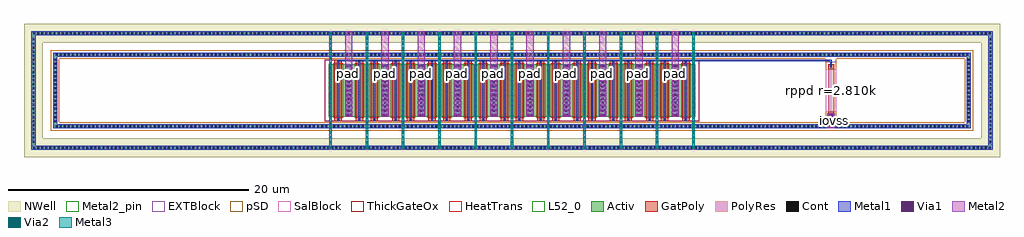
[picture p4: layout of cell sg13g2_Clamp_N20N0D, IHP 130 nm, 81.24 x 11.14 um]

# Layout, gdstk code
import gdstk
lib = gdstk.Library(unit=1e-6, precision=1e-09)
def R(c, l, rs):  # rectangles x0, y0, x1, y1
    for r in rs: c.add(gdstk.rectangle(r[:2], r[2:], *l))
def A(c, l, x, y, w, h, nx, ny, dx, dy):  # array of equal rectangles
    R(c, l, [(x+i*dx, y+j*dy, x+i*dx+w, y+j*dy+h) for i in range(nx) for j in range(ny)])
def P(c, l, *ps):  # polygons
    for p in ps: c.add(gdstk.Polygon(p, *l))
Activ = (1, 0)
GatPoly = (5, 0)
Cont = (6, 0)
Metal1 = (8, 0)
Metal2 = (10, 0)
Metal2_pin = (10, 2)
pSD = (14, 0)
Via1 = (19, 0)
SalBlock = (28, 0)
Via2 = (29, 0)
Metal3 = (30, 0)
NWell = (31, 0)
ThickGateOx = (44, 0)
HeatTrans = (51, 0)
L52_0 = (52, 0)
EXTBlock = (111, 0)
PolyRes = (128, 0)

sg13g2_guardring_n16000w = lib.new_cell('sg13g2_GuardRing_N16000W1980HFF')
P(sg13g2_guardring_n16000w, Activ, [(-40,-4.95),(-40,4.61),(-39.66,4.61),(-39.66,-4.61),(39.66,-4.61),(39.66,4.61),(-40,4.61),(-40,4.95),(40,4.95),(40,-4.95)])
A(sg13g2_guardring_n16000w, Cont, -39.86, -4.86, 0.16, 0.16, 235, 2, 0.34, 9.56)
A(sg13g2_guardring_n16000w, Cont, -39.91, -4.33, 0.16, 0.16, 1, 26, 0, 0.34)
A(sg13g2_guardring_n16000w, Cont, 39.75, -4.33, 0.16, 0.16, 1, 26, 0, 0.34)
P(sg13g2_guardring_n16000w, Metal1, [(-40,-4.95),(-40,4.61),(-39.66,4.61),(-39.66,-4.61),(39.66,-4.61),(39.66,4.61),(-40,4.61),(-40,4.95),(40,4.95),(40,-4.95)])
P(sg13g2_guardring_n16000w, NWell, [(-40.62,-5.57),(-40.62,3.99),(-39.04,3.99),(-39.04,-3.99),(39.04,-3.99),(39.04,3.99),(-40.62,3.99),(-40.62,5.57),(40.62,5.57),(40.62,-5.57)])

sg13g2_guardring_p15280w = lib.new_cell('sg13g2_GuardRing_P15280W1260HFF')
P(sg13g2_guardring_p15280w, Activ, [(-38.2,-3.15),(-38.2,2.81),(-37.86,2.81),(-37.86,-2.81),(37.86,-2.81),(37.86,2.81),(-38.2,2.81),(-38.2,3.15),(38.2,3.15),(38.2,-3.15)])
A(sg13g2_guardring_p15280w, Cont, -37.99, -3.06, 0.16, 0.16, 224, 2, 0.34, 5.96)
A(sg13g2_guardring_p15280w, Cont, -38.11, -2.63, 0.16, 0.16, 1, 16, 0, 0.34)
A(sg13g2_guardring_p15280w, Cont, 37.95, -2.63, 0.16, 0.16, 1, 16, 0, 0.34)
P(sg13g2_guardring_p15280w, Metal1, [(-38.2,-3.15),(-38.2,2.81),(-37.86,2.81),(-37.86,-2.81),(37.86,-2.81),(37.86,2.81),(-38.2,2.81),(-38.2,3.15),(38.2,3.15),(38.2,-3.15)])
P(sg13g2_guardring_p15280w, pSD, [(-38.38,-3.33),(-38.38,2.63),(-37.68,2.63),(-37.68,-2.63),(37.68,-2.63),(37.68,2.63),(-38.38,2.63),(-38.38,3.33),(38.38,3.33),(38.38,-3.33)])

sg13g2_clamp_n20n0d = lib.new_cell('sg13g2_Clamp_N20N0D')
R(sg13g2_clamp_n20n0d, Activ, [(24.75,2.75,55.25,7.15)])
R(sg13g2_clamp_n20n0d, GatPoly, [(25.22,2.38,25.82,7.52), (27,2.38,27.6,7.52), (28.24,2.38,28.84,7.52), (30.02,2.38,30.62,7.52), (31.26,2.38,31.86,7.52), (33.04,2.38,33.64,7.52), (34.28,2.38,34.88,7.52), (36.06,2.38,36.66,7.52), (37.3,2.38,37.9,7.52), (39.08,2.38,39.68,7.52), (40.32,2.38,40.92,7.52), (42.1,2.38,42.7,7.52), (43.34,2.38,43.94,7.52), (45.12,2.38,45.72,7.52), (46.36,2.38,46.96,7.52), (48.14,2.38,48.74,7.52), (49.38,2.38,49.98,7.52), (51.16,2.38,51.76,7.52), (52.4,2.38,53,7.52), (54.18,2.38,54.78,7.52), (66.305,2.75,66.805,3.18), (66.305,6.72,66.805,7.15)])
A(sg13g2_clamp_n20n0d, Cont, 24.82, 2.83, 0.16, 0.16, 21, 13, 1.51, 0.34)
R(sg13g2_clamp_n20n0d, Cont, [(25.44,2.45,25.6,2.61), (27.22,2.45,27.38,2.61), (28.46,2.45,28.62,2.61), (30.24,2.45,30.4,2.61), (31.48,2.45,31.64,2.61), (33.26,2.45,33.42,2.61), (34.5,2.45,34.66,2.61), (36.28,2.45,36.44,2.61), (37.52,2.45,37.68,2.61), (39.3,2.45,39.46,2.61), (40.54,2.45,40.7,2.61), (42.32,2.45,42.48,2.61), (43.56,2.45,43.72,2.61), (45.34,2.45,45.5,2.61), (46.58,2.45,46.74,2.61), (48.36,2.45,48.52,2.61), (49.6,2.45,49.76,2.61), (51.38,2.45,51.54,2.61), (52.62,2.45,52.78,2.61), (54.4,2.45,54.56,2.61), (66.475,2.82,66.635,2.98), (66.475,6.92,66.635,7.08), (25.44,7.29,25.6,7.45), (27.22,7.29,27.38,7.45), (28.46,7.29,28.62,7.45), (30.24,7.29,30.4,7.45), (31.48,7.29,31.64,7.45), (33.26,7.29,33.42,7.45), (34.5,7.29,34.66,7.45), (36.28,7.29,36.44,7.45), (37.52,7.29,37.68,7.45), (39.3,7.29,39.46,7.45), (40.54,7.29,40.7,7.45), (42.32,7.29,42.48,7.45), (43.56,7.29,43.72,7.45), (45.34,7.29,45.5,7.45), (46.58,7.29,46.74,7.45), (48.36,7.29,48.52,7.45), (49.6,7.29,49.76,7.45), (51.38,7.29,51.54,7.45), (52.62,7.29,52.78,7.45), (54.4,7.29,54.56,7.45)])
A(sg13g2_clamp_n20n0d, Metal1, 24.795, 1.8, 0.21, 0.34, 11, 2, 3.02, 5.96)
A(sg13g2_clamp_n20n0d, Metal1, 24.795, 2.75, 0.21, 4.4, 11, 1, 3.02, 0)
A(sg13g2_clamp_n20n0d, Metal1, 26.1, 2.75, 0.62, 4.4, 10, 1, 3.02, 0)
R(sg13g2_clamp_n20n0d, Metal1, [(66.245,1.825,66.865,2.115)])
P(sg13g2_clamp_n20n0d, Metal1, [(66.475,2.74),(66.475,2.755),(66.245,2.755),(66.245,3.045),(66.475,3.045),(66.475,3.06),(66.635,3.06),(66.635,3.045),(66.865,3.045),(66.865,2.755),(66.635,2.755),(66.635,2.74)],
  [(25.44,2.37),(25.44,7.53),(66.635,7.53),(66.635,6.84),(66.475,6.84),(66.475,7.37),(54.56,7.37),(54.56,2.37),(54.4,2.37),(54.4,7.37),(52.78,7.37),(52.78,2.37),(52.62,2.37),(52.62,7.37),(51.54,7.37),(51.54,2.37),(51.38,2.37),(51.38,7.37),(49.76,7.37),(49.76,2.37),(49.6,2.37),(49.6,7.37),(48.52,7.37),(48.52,2.37),(48.36,2.37),(48.36,7.37),(46.74,7.37),(46.74,2.37),(46.58,2.37),(46.58,7.37),(45.5,7.37),(45.5,2.37),(45.34,2.37),(45.34,7.37),(43.72,7.37),(43.72,2.37),(43.56,2.37),(43.56,7.37),(42.48,7.37),(42.48,2.37),(42.32,2.37),(42.32,7.37),(40.7,7.37),(40.7,2.37),(40.54,2.37),(40.54,7.37),(39.46,7.37),(39.46,2.37),(39.3,2.37),(39.3,7.37),(37.68,7.37),(37.68,2.37),(37.52,2.37),(37.52,7.37),(36.44,7.37),(36.44,2.37),(36.28,2.37),(36.28,7.37),(34.66,7.37),(34.66,2.37),(34.5,2.37),(34.5,7.37),(33.42,7.37),(33.42,2.37),(33.26,2.37),(33.26,7.37),(31.64,7.37),(31.64,2.37),(31.48,2.37),(31.48,7.37),(30.4,7.37),(30.4,2.37),(30.24,2.37),(30.24,7.37),(28.62,7.37),(28.62,2.37),(28.46,2.37),(28.46,7.37),(27.38,7.37),(27.38,2.37),(27.22,2.37),(27.22,7.37),(25.6,7.37),(25.6,2.37)])
A(sg13g2_clamp_n20n0d, Metal2, 24.8, 0, 0.2, 9.9, 11, 1, 3.02, 0)
A(sg13g2_clamp_n20n0d, Metal2, 26.105, 2.755, 0.61, 7.145, 10, 1, 3.02, 0)
R(sg13g2_clamp_n20n0d, Metal2, [(66.25,1.825,66.86,3.045)])
A(sg13g2_clamp_n20n0d, Metal2_pin, 26.105, 2.755, 0.61, 7.145, 10, 1, 3.02, 0)
R(sg13g2_clamp_n20n0d, pSD, [(66.125,1.8,66.985,8.1)])
A(sg13g2_clamp_n20n0d, Via1, 24.805, 1.875, 0.19, 0.19, 11, 2, 3.02, 5.96)
A(sg13g2_clamp_n20n0d, Via1, 24.805, 2.805, 0.19, 0.19, 1, 11, 0, 0.41)
A(sg13g2_clamp_n20n0d, Via1, 26.11, 2.805, 0.19, 0.19, 1, 11, 0, 0.41)
A(sg13g2_clamp_n20n0d, Via1, 26.52, 2.805, 0.19, 0.19, 3, 11, 1.305, 0.41)
A(sg13g2_clamp_n20n0d, Via1, 29.54, 2.805, 0.19, 0.19, 3, 11, 1.305, 0.41)
A(sg13g2_clamp_n20n0d, Via1, 32.56, 2.805, 0.19, 0.19, 3, 11, 1.305, 0.41)
A(sg13g2_clamp_n20n0d, Via1, 35.58, 2.805, 0.19, 0.19, 3, 11, 1.305, 0.41)
A(sg13g2_clamp_n20n0d, Via1, 38.6, 2.805, 0.19, 0.19, 3, 11, 1.305, 0.41)
A(sg13g2_clamp_n20n0d, Via1, 41.62, 2.805, 0.19, 0.19, 3, 11, 1.305, 0.41)
A(sg13g2_clamp_n20n0d, Via1, 44.64, 2.805, 0.19, 0.19, 3, 11, 1.305, 0.41)
A(sg13g2_clamp_n20n0d, Via1, 47.66, 2.805, 0.19, 0.19, 3, 11, 1.305, 0.41)
A(sg13g2_clamp_n20n0d, Via1, 50.68, 2.805, 0.19, 0.19, 3, 11, 1.305, 0.41)
A(sg13g2_clamp_n20n0d, Via1, 53.7, 2.805, 0.19, 0.19, 1, 11, 0, 0.41)
A(sg13g2_clamp_n20n0d, Via1, 55.005, 2.805, 0.19, 0.19, 1, 11, 0, 0.41)
R(sg13g2_clamp_n20n0d, Via1, [(66.255,1.875,66.445,2.065), (66.665,1.875,66.855,2.065), (66.255,2.805,66.445,2.995), (66.665,2.805,66.855,2.995)])
R(sg13g2_clamp_n20n0d, SalBlock, [(66.105,3.18,67.005,6.72)])
A(sg13g2_clamp_n20n0d, Via2, 24.805, 0.14, 0.19, 0.19, 11, 24, 3.02, 0.41)
A(sg13g2_clamp_n20n0d, Metal3, 24.8, 0.09, 0.2, 9.72, 11, 1, 3.02, 0)
R(sg13g2_clamp_n20n0d, ThickGateOx, [(24.41,2.41,55.59,7.49)])
R(sg13g2_clamp_n20n0d, HeatTrans, [(25.126,2.662,25.94,7.239), (26.903,2.662,27.717,7.239), (28.124,2.662,28.938,7.239), (29.923,2.662,30.737,7.239), (31.144,2.662,31.958,7.239), (32.943,2.662,33.757,7.239), (34.164,2.662,34.978,7.239), (35.963,2.662,36.777,7.239), (37.184,2.662,37.998,7.239), (38.983,2.662,39.797,7.239), (40.204,2.662,41.018,7.239), (42.003,2.662,42.817,7.239), (43.224,2.662,44.038,7.239), (45.023,2.662,45.837,7.239), (46.244,2.662,47.058,7.239), (48.043,2.662,48.857,7.239), (49.264,2.662,50.078,7.239), (51.063,2.662,51.877,7.239), (52.284,2.662,53.098,7.239), (54.083,2.662,54.897,7.239)])
R(sg13g2_clamp_n20n0d, L52_0, [(66.305,3.18,66.805,6.72)])
R(sg13g2_clamp_n20n0d, EXTBlock, [(66.125,2.57,66.985,7.33)])
R(sg13g2_clamp_n20n0d, PolyRes, [(66.305,3.18,66.805,6.72)])
P(sg13g2_clamp_n20n0d, PolyRes, [(67.947,4.317),(67.947,4.317),(67.947,4.317),(67.947,4.317)])
sg13g2_clamp_n20n0d.add(gdstk.Reference(sg13g2_guardring_n16000w, (40,4.95)))
sg13g2_clamp_n20n0d.add(gdstk.Reference(sg13g2_guardring_p15280w, (40,4.95)))
sg13g2_clamp_n20n0d.add(gdstk.Label('rppd r=2.810k', (66.555,4.95), layer=63, texttype=0))
sg13g2_clamp_n20n0d.add(gdstk.Label('pad', (26.41,6.328), layer=63, texttype=0))
sg13g2_clamp_n20n0d.add(gdstk.Label('pad', (29.43,6.328), layer=63, texttype=0))
sg13g2_clamp_n20n0d.add(gdstk.Label('pad', (32.45,6.328), layer=63, texttype=0))
sg13g2_clamp_n20n0d.add(gdstk.Label('pad', (35.47,6.328), layer=63, texttype=0))
sg13g2_clamp_n20n0d.add(gdstk.Label('pad', (38.49,6.328), layer=63, texttype=0))
sg13g2_clamp_n20n0d.add(gdstk.Label('pad', (41.51,6.328), layer=63, texttype=0))
sg13g2_clamp_n20n0d.add(gdstk.Label('pad', (44.53,6.328), layer=63, texttype=0))
sg13g2_clamp_n20n0d.add(gdstk.Label('pad', (47.55,6.328), layer=63, texttype=0))
sg13g2_clamp_n20n0d.add(gdstk.Label('pad', (50.57,6.328), layer=63, texttype=0))
sg13g2_clamp_n20n0d.add(gdstk.Label('pad', (53.59,6.328), layer=63, texttype=0))
sg13g2_clamp_n20n0d.add(gdstk.Label('iovss', (66.814,2.49), layer=63, texttype=0))

lib.write_gds('sg13g2_Clamp_N20N0D.gds')
